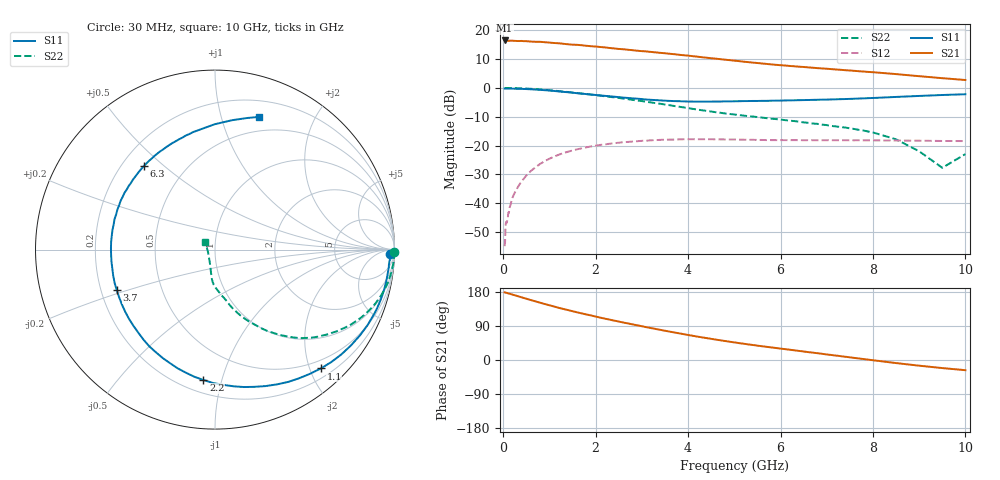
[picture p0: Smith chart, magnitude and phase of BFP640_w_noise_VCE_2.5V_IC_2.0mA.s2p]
! Infineon Technologies  Discrete & RF Semiconductors
! BFP640
! VCE =  2.5 V,  IC =  2.0 mA
! Common Emitter S-Parameters:  Apr 2013
# GHz  S  MA  R  50
!  f  S11  S21  S12  S22
! GHz  MAG  ANG  MAG  ANG  MAG  ANG  MAG  ANG
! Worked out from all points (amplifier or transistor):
!   99 points, 30 MHz to 10 GHz, reference 50 ohm
!   highest |S21| = 16.5 dB at 30 MHz (marker M1)
!   |S21| within 3 dB of that: start of sweep to 2.554 GHz
!   unconditionally stable (mu >= 1): 6.281 GHz to end of sweep
!   at 350 MHz: K = 0.02, MSG = 24.9 dB, |S12| = -33.5 dB
!   at 3.5 GHz: K = 0.56, MSG = 15.0 dB, |S12| = -18.0 dB
!   at 10 GHz: K = 1.28, MAG = 7.4 dB, |S12| = -18.4 dB
!   lowest NFmin = 0.53 dB at 450 MHz
!   S11 on the Smith chart (normalised r, x): 30 MHz: 44, -37; 1.1 GHz: 0.35, -2.18; 2.2 GHz: 0.28, -0.87; 3.7 GHz: 0.27, -0.18; 6.3 GHz: 0.29, +0.43; 10 GHz: 0.35, +1.32
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0.03  0.9737 -1.3  6.669 178.5  0.0018 92.9  0.9993 -0.7
0.04  0.9746 -1.7  6.458 178.1  0.0021 94.2  0.9994 -0.9
0.05  0.9758 -2.0  6.548 178.1  0.004 108.6  1 -1.2
0.06  0.975 -2.5  6.533 177.5  0.0047 87.3  1 -1.4
0.15  0.9725 -6.6  6.626 174.5  0.009 88.2  0.9978 -3.6
0.25  0.9703 -10.9  6.565 170.8  0.0153 85.6  0.9938 -5.9
0.5  0.9567 -21.9  6.488 161.7  0.0302 78.0  0.9768 -11.8
0.8  0.9267 -35.2  6.314 151.1  0.0483 70.1  0.9432 -18.5
1.1  0.8868 -48.3  6.024 141.1  0.0644 61.5  0.8989 -24.8
1.3  0.8562 -56.9  5.843 134.7  0.0739 56.2  0.8662 -28.7
1.7  0.7958 -73.9  5.502 122.9  0.0898 46.6  0.8001 -35.4
2.2  0.7292 -95.1  5.052 109.1  0.105 35.8  0.7169 -43.3
2.8  0.6596 -120.1  4.524 93.9  0.1176 24.9  0.6212 -50.8
3.4  0.6083 -145.4  4.063 79.5  0.1258 15.3  0.5314 -57.8
3.7  0.5919 -157.8  3.852 72.7  0.1273 11.1  0.4861 -61.1
4.4  0.5803 175.7  3.35 57.8  0.1291 2.0  0.401 -68.2
5.1  0.5887 155.0  2.923 44.6  0.1268 -4.6  0.3378 -73.6
6.3  0.6115 130.4  2.375 25.5  0.1244 -12.4  0.2662 -80.6
6.7  0.6214 123.0  2.242 19.4  0.124 -14.4  0.2416 -83.9
8.5  0.6986 90.1  1.739 -8.1  0.1226 -23.8  0.1285 -100.1
9.5  0.7546 76.3  1.478 -21.3  0.1203 -27.6  0.0412 -159.5
10  0.7781 71.8  1.374 -26.9  0.1197 -28.6  0.0713 140.8
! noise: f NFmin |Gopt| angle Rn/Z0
0.45  0.53  0.6  13  0.24
0.9  0.57  0.61  23  0.23
1.5  0.69  0.53  39  0.22
1.9  0.75  0.48  53  0.21
2.4  0.82  0.45  63  0.2
3.5  0.97  0.38  91  0.18
5.5  1.34  0.35  -173  0.18
10  2.34  0.67  -68  0.71
